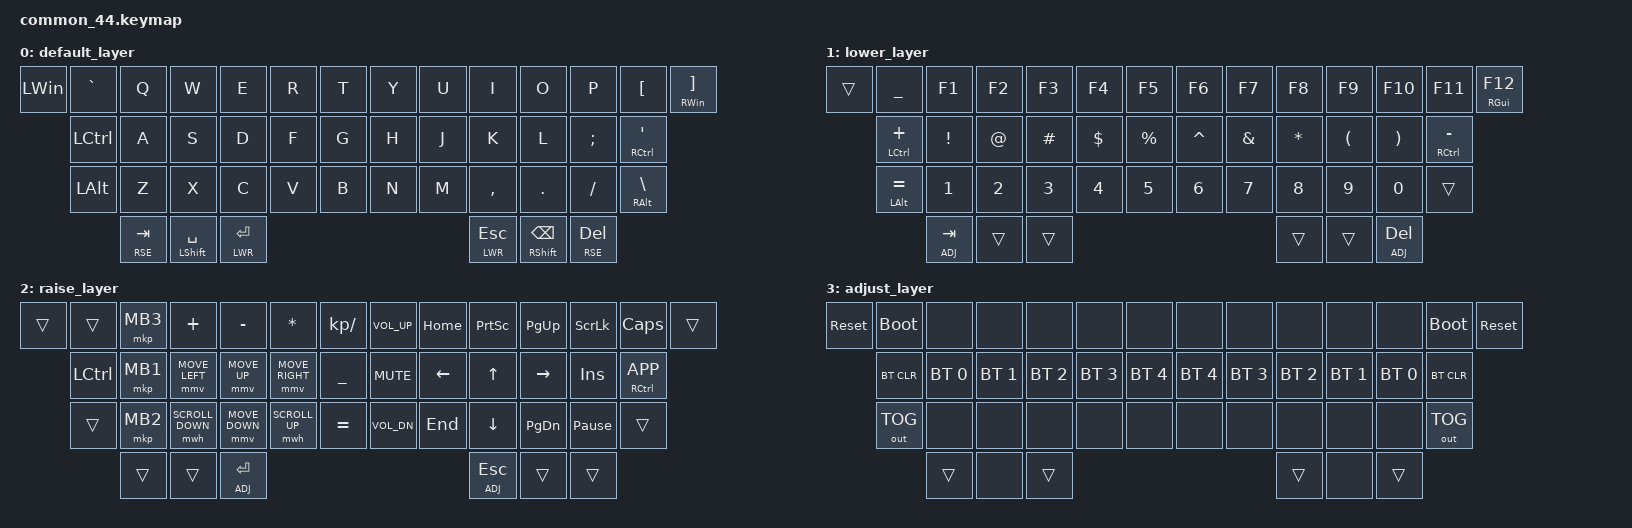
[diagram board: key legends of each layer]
/*
 * Copyright (c) 2020 The ZMK Contributors
 *
 * SPDX-License-Identifier: MIT
 */

#include <behaviors.dtsi>
#include <dt-bindings/zmk/keys.h>
#include <dt-bindings/zmk/bt.h>
#include <dt-bindings/zmk/outputs.h>
#include "mouse.dtsi"

#define DEF 0
#define LWR 1
#define RSE 2
#define ADJ 3

&lt { quick-tap-ms = <200>; };
&mt { quick-tap-ms = <200>; };

/ {
        keymap {
                compatible = "zmk,keymap";

                default_layer {
// -----------------------------------------------------------------------------------------
// |  GUI |   ~  |  Q  |  W  |  E  |  R  |  T  |   |  Y  |  U   |  I  |  O  |  P  |  [   | GUI/] |
//        | CTRL |  A  |  S  |  D  |  F  |  G  |   |  H  |  J   |  K  |  L  |  ;  |CTRL/'|
//        | LALT |  Z  |  X  |  C  |  V  |  B  |   |  N  |  M   |  ,  |  .  |  /  | RALT |
//                           | RSE | SPC | LWR |   | LWR | BKSP | RSE |
                        bindings = <
   &kp LWIN &kp GRAVE &kp Q &kp W &kp E &kp R &kp T &kp Y         &kp U  &kp I     &kp O   &kp P    &kp LBKT &mt RWIN RBKT
            &kp LCTRL &kp A &kp S &kp D &kp F &kp G &kp H         &kp J  &kp K     &kp L   &kp SEMI &mt RCTRL SQT
            &kp LALT  &kp Z &kp X &kp C &kp V &kp B &kp N         &kp M  &kp COMMA &kp DOT &kp FSLH &mt RALT BSLH
                         &lt RSE TAB &mt LSHFT SPACE &lt LWR RET &lt LWR ESC &mt RSHFT BSPC &lt RSE DEL
                        >;
                };
                lower_layer {
// -----------------------------------------------------------------------------------------
// |     |  _  |  F1 |  F2 |  F3 |  F4 |  F5 |   |  F6 |  F7 |  F8 |  F9 | F10 | F11 | F12 |
//       |  +  |  !  |  @  |  #  |  $  |  %  |   |  ^  |  &  |  *  |  (  |  )  |  -  |
//       |  =  |  1  |  2  |  3  |  4  |  5  |   |  6  |  7  |  8  |  9  |  0  |     |
//                    | GUI |     | SPC |   | ENT |     | ALT |
                        bindings = <
    &trans &kp UNDER      &kp F1   &kp F2 &kp F3   &kp F4   &kp F5           &kp F6    &kp F7   &kp F8   &kp F9   &kp F10  &kp F11 &mt RGUI F12
           &mt LCTRL PLUS &kp EXCL &kp AT &kp HASH &kp DLLR &kp PRCNT        &kp CARET &kp AMPS &kp STAR &kp LPAR &kp RPAR &mt RCTRL MINUS
           &mt LALT EQUAL &kp N1   &kp N2 &kp N3   &kp N4   &kp N5           &kp N6    &kp N7   &kp N8   &kp N9   &kp N0   &trans
                                               &lt ADJ TAB &trans &trans   &trans &trans &lt ADJ DEL
                        >;
                };

                raise_layer {
// -----------------------------------------------------------------------------------------
// |     |      | mmc |  +  |  -  |  *  |  /  |   | VOLU| HOME| PRSC| PGUP| SCLK| CLCK|     |
//       | CTRL | mlc | mml | mmu | mmr |  _  |   | MUT | LEFT|  UP | RGHT| INS | APP |
//       |      | mrc | msd | mmd | msu |  =  |   | VOLD| END | DOWN| PGDN| PAUS|     |
//                          |     |     | ADJ |   | ADJ |     |     |
                        bindings = <
    &trans &trans     &mkp MB3    &kp PLUS         &kp MINUS       &kp STAR         &kp KP_SLASH        &kp C_VOL_UP &kp HOME &kp PSCRN &kp PG_UP &kp SLCK &kp CAPS &trans
           &kp LCTRL  &mkp MB1    &mmv MOVE_LEFT   &mmv MOVE_UP    &mmv MOVE_RIGHT  &kp UNDER           &kp C_MUTE   &kp LEFT &kp UP    &kp RIGHT &kp INS  &mt RCTRL K_APP
           &trans     &mkp MB2    &mwh SCROLL_DOWN &mmv MOVE_DOWN  &mwh SCROLL_UP   &kp EQUAL           &kp C_VOL_DN &kp END  &kp DOWN  &kp PG_DN &kp PAUSE_BREAK &trans
                                                            &trans &trans &lt ADJ RET   &lt ADJ ESC &trans &trans
                        >;
                };
                adjust_layer {
// -----------------------------------------------------------------------------------------
// | RST | BLDR |     |     |     |     |     |   |     |     |     |     |     | BLDR | RST |
//       | BTCLR| BT0 | BT1 | BT2 | BT3 | BT4 |   | BT4 | BT3 | BT2 | BT1 | BT0 | BTCLR|
//       |      |     |     |     |     |     |   |     |     |     |     |     |      |
//                          |     |     |     |   |     |     |     |
                        bindings = <
    &sys_reset &bootloader  &none        &none        &none        &none        &none              &none        &none        &none        &none        &none         &bootloader &sys_reset
               &bt BT_CLR   &bt BT_SEL 0 &bt BT_SEL 1 &bt BT_SEL 2 &bt BT_SEL 3 &bt BT_SEL 4       &bt BT_SEL 4 &bt BT_SEL 3 &bt BT_SEL 2 &bt BT_SEL 1 &bt BT_SEL 0  &bt BT_CLR
               &out OUT_TOG &none        &none        &none        &none        &none              &none        &none        &none        &none        &none         &out OUT_TOG
                                                                           &trans &none &trans   &trans &none &trans
                        >;
                };
        };
};
